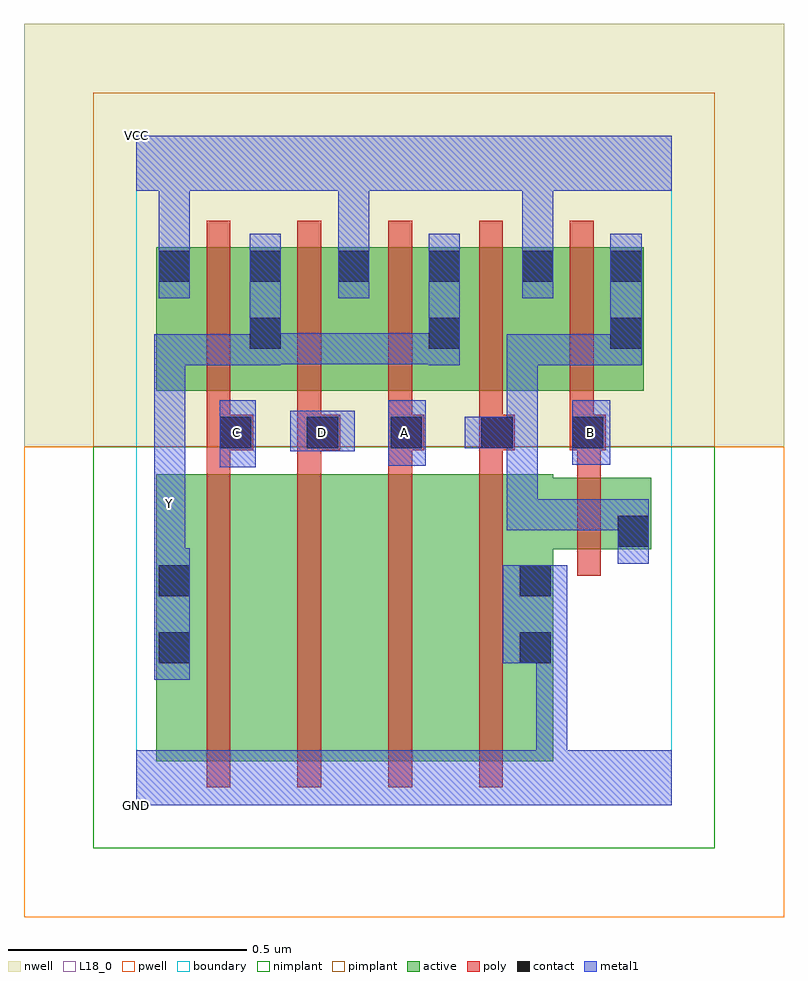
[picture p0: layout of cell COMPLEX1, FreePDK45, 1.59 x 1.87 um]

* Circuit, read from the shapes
.subckt COMPLEX1 A B C D GND VCC Y
M1 n1 C Y VSUBS nfet w=0.6u l=0.05u
M2 n2 D n1 VSUBS nfet w=0.6u l=0.05u
M3 n3 A n2 VSUBS nfet w=0.6u l=0.05u
M4 GND n4 n3 VSUBS nfet w=0.6u l=0.05u
M5 n4 B GND VSUBS nfet w=0.15u l=0.05u
M6 Y C VCC n5 pfet w=0.3u l=0.05u
M7 VCC D Y n5 pfet w=0.3u l=0.05u
M8 Y A VCC n5 pfet w=0.3u l=0.05u
M9 VCC n4 Y n5 pfet w=0.3u l=0.05u
M10 n4 B VCC n5 pfet w=0.3u l=0.05u
.ends

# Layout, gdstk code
import gdstk
lib = gdstk.Library(unit=1e-6, precision=1e-09)
def R(c, l, rs):  # rectangles x0, y0, x1, y1
    for r in rs: c.add(gdstk.rectangle(r[:2], r[2:], *l))
def A(c, l, x, y, w, h, nx, ny, dx, dy):  # array of equal rectangles
    R(c, l, [(x+i*dx, y+j*dy, x+i*dx+w, y+j*dy+h) for i in range(nx) for j in range(ny)])
active = (1, 0)
pwell = (2, 0)
nwell = (3, 0)
nimplant = (4, 0)
pimplant = (5, 0)
poly = (9, 0)
contact = (10, 0)
metal1 = (11, 0)
L18_0 = (18, 0)
boundary = (235, 0)

complex1 = lib.new_cell('COMPLEX1')
R(complex1, active, [(0.042,0.092,0.267,0.692), (0.267,0.092,0.457,0.692), (0.457,0.092,0.647,0.692), (0.647,0.092,0.872,0.692), (0.042,0.095,0.147,0.692), (0.797,0.292,0.872,0.535), (0.797,0.535,1.077,0.685), (1.002,0.535,1.077,0.685), (0.042,0.867,0.117,1.167), (0.042,0.867,0.307,1.167), (0.232,0.867,0.492,1.167), (0.417,0.867,0.682,1.167), (0.607,0.867,0.682,1.167), (0.607,0.867,0.877,1.167), (0.802,0.867,1.062,1.167), (0.802,0.867,0.877,1.167), (0.987,0.867,1.062,1.165), (0.232,0.907,0.307,1.167), (0.417,1.002,0.492,1.167)])
R(complex1, pwell, [(-0.235,-0.235,1.355,0.75)])
R(complex1, nwell, [(-0.235,0.75,1.355,1.635)])
R(complex1, nimplant, [(-0.09,-0.09,1.21,0.75)])
R(complex1, pimplant, [(-0.09,0.75,1.21,1.49)])
A(complex1, poly, 0.147, 0.037, 0.05, 0.71, 4, 1, 0.19, 0)
A(complex1, poly, 0.147, 0.697, 0.05, 0.095, 4, 1, 0.19, 0)
A(complex1, poly, 0.527, 0.742, 0.075, 0.075, 3, 1, 0.19, 0)
A(complex1, poly, 0.147, 0.767, 0.05, 0.095, 5, 1, 0.19, 0)
A(complex1, poly, 0.147, 0.812, 0.05, 0.41, 5, 1, 0.19, 0)
R(complex1, poly, [(0.922,0.48,0.972,0.74), (0.922,0.69,0.972,0.792), (0.147,0.742,0.245,0.817), (0.337,0.742,0.427,0.817)])
A(complex1, contact, 0.532, 0.747, 0.065, 0.065, 3, 1, 0.19, 0)
R(complex1, contact, [(0.047,0.297,0.112,0.362), (0.802,0.297,0.867,0.362), (0.047,0.437,0.112,0.502), (0.802,0.437,0.867,0.502), (1.007,0.54,1.072,0.605), (0.175,0.747,0.24,0.812), (0.357,0.747,0.422,0.812), (0.237,0.955,0.302,1.02), (0.612,0.955,0.677,1.02), (0.992,0.955,1.057,1.02), (0.047,1.095,0.112,1.16), (0.237,1.095,0.302,1.16), (0.422,1.095,0.487,1.16), (0.612,1.095,0.677,1.16), (0.807,1.095,0.872,1.16), (0.992,1.095,1.057,1.16)])
R(complex1, metal1, [(0,0,1.12,0.115), (0.837,0.05,0.902,0.362), (0.037,0.262,0.112,0.537), (0.767,0.297,0.902,0.502), (0.037,0.472,0.102,0.627), (1.007,0.505,1.072,0.64), (0.037,0.562,0.102,0.697), (0.775,0.575,0.84,0.64), (0.775,0.575,1.072,0.64), (0.775,0.575,0.84,0.812), (1.007,0.575,1.072,0.64), (1.007,0.575,1.072,0.64), (0.037,0.632,0.102,0.985), (0.175,0.707,0.25,0.847), (0.527,0.71,0.605,0.847), (0.912,0.712,0.992,0.847), (0.322,0.74,0.457,0.825), (0.687,0.747,0.822,0.812), (0.757,0.747,0.84,0.812), (0.775,0.747,0.84,0.812), (0.775,0.747,0.84,0.985), (0.037,0.92,0.102,0.985), (0.037,0.92,0.102,0.985), (0.037,0.92,0.102,0.985), (0.037,0.92,0.302,0.985), (0.237,0.92,0.302,1.195), (0.612,0.92,0.677,1.195), (0.775,0.92,0.84,0.985), (0.775,0.92,1.057,0.985), (0.992,0.92,1.057,0.985), (0.992,0.92,1.057,0.985), (0.992,0.92,1.057,1.195), (0.237,0.922,0.302,0.987), (0.237,0.922,0.302,0.987), (0.237,0.922,0.54,0.987), (0.475,0.922,0.54,0.987), (0.475,0.922,0.54,0.987), (0.475,0.922,0.54,0.987), (0.475,0.922,0.677,0.987), (0.047,1.06,0.112,1.195), (0.422,1.06,0.487,1.195), (0.807,1.06,0.872,1.195), (0.047,1.13,0.112,1.35), (0.422,1.13,0.487,1.35), (0.807,1.13,0.872,1.195), (0.807,1.13,0.872,1.195), (0.807,1.13,0.872,1.35), (0,1.285,1.12,1.4), (0.047,1.285,0.112,1.35), (0.047,1.285,0.112,1.35), (0.422,1.285,0.487,1.35), (0.422,1.285,0.487,1.35)])
R(complex1, L18_0, [(0,0,1.12,0.115), (0.837,0.05,0.902,0.362), (0.037,0.262,0.112,0.537), (0.767,0.297,0.902,0.502), (0.037,0.472,0.102,0.627), (0.037,0.562,0.102,0.697), (0.037,0.597,0.102,0.662), (0.037,0.632,0.102,0.985), (0.175,0.707,0.25,0.847), (0.527,0.71,0.605,0.847), (0.912,0.712,0.992,0.847), (0.322,0.74,0.457,0.825), (0.177,0.747,0.242,0.812), (0.357,0.747,0.422,0.812), (0.527,0.747,0.592,0.812), (0.917,0.747,0.982,0.812), (0.037,0.92,0.102,0.985), (0.037,0.92,0.102,0.985), (0.037,0.92,0.102,0.985), (0.037,0.92,0.302,0.985), (0.237,0.92,0.302,1.195), (0.612,0.92,0.677,1.195), (0.237,0.922,0.302,0.987), (0.237,0.922,0.302,0.987), (0.237,0.922,0.54,0.987), (0.475,0.922,0.54,0.987), (0.475,0.922,0.54,0.987), (0.475,0.922,0.54,0.987), (0.475,0.922,0.677,0.987), (0.047,1.06,0.112,1.195), (0.422,1.06,0.487,1.195), (0.807,1.06,0.872,1.195), (0.047,1.13,0.112,1.35), (0.422,1.13,0.487,1.35), (0.807,1.13,0.872,1.195), (0.807,1.13,0.872,1.195), (0.807,1.13,0.872,1.35), (0,1.285,1.12,1.4), (0.047,1.285,0.112,1.35), (0.047,1.285,0.112,1.35), (0.422,1.285,0.487,1.35), (0.422,1.285,0.487,1.35)])
R(complex1, boundary, [(0,0,1.12,1.4)])
complex1.add(gdstk.Label('A', (0.56,0.78), layer=11, texttype=0))
complex1.add(gdstk.Label('B', (0.95,0.78), layer=11, texttype=0))
complex1.add(gdstk.Label('C', (0.21,0.78), layer=11, texttype=0))
complex1.add(gdstk.Label('D', (0.39,0.78), layer=11, texttype=0))
complex1.add(gdstk.Label('Y', (0.07,0.63), layer=11, texttype=0))
complex1.add(gdstk.Label('VCC', (0,1.4), layer=11, texttype=0))
complex1.add(gdstk.Label('GND', (0,0), layer=11, texttype=0))

lib.write_gds('COMPLEX1.gds')
